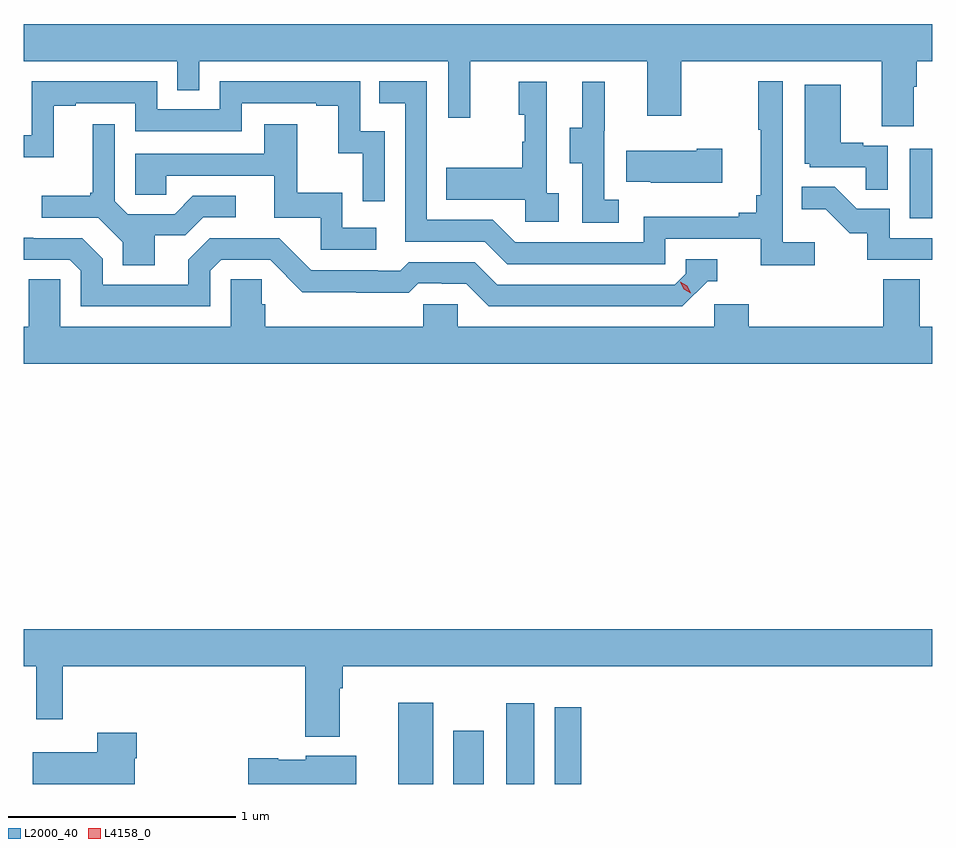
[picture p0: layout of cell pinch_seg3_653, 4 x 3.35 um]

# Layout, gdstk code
import gdstk
lib = gdstk.Library(unit=1e-6, precision=1e-09)
def R(c, l, rs):  # rectangles x0, y0, x1, y1
    for r in rs: c.add(gdstk.rectangle(r[:2], r[2:], *l))
def P(c, l, *ps):  # polygons
    for p in ps: c.add(gdstk.Polygon(p, *l))
L2000_40 = (2000, 40)
L4158_0 = (4158, 0)

pinch_seg3_653 = lib.new_cell('pinch_seg3_653')
R(pinch_seg3_653, L2000_40, [(1049.333,667.098,1049.488,667.456), (1049.576,667.098,1049.71,667.333), (1049.81,667.098,1049.932,667.453), (1050.024,667.098,1050.14,667.435), (1051.586,669.588,1051.685,669.895)])
P(pinch_seg3_653, L2000_40, [(1051.603,670.168),(1051.616,670.168),(1051.616,670.28),(1051.685,670.28),(1051.685,670.444),(1047.685,670.444),(1047.685,670.28),(1048.362,670.28),(1048.362,670.153),(1048.458,670.153),(1048.458,670.28),(1049.553,670.28),(1049.553,670.032),(1049.651,670.032),(1049.651,670.28),(1050.431,670.28),(1050.431,670.041),(1050.579,670.041),(1050.579,670.28),(1051.463,670.28),(1051.463,669.994),(1051.603,669.994)],
  [(1051.168,669.484),(1051.026,669.484),(1051.026,670.192),(1050.918,670.192),(1050.918,669.979),(1050.929,669.979),(1050.929,669.691),(1050.91,669.691),(1050.91,669.614),(1050.833,669.614),(1050.833,669.595),(1050.414,669.595),(1050.414,669.483),(1049.85,669.483),(1049.751,669.582),(1049.46,669.582),(1049.46,670.191),(1049.251,670.191),(1049.251,670.095),(1049.364,670.095),(1049.364,669.486),(1049.714,669.486),(1049.813,669.387),(1050.51,669.387),(1050.51,669.498),(1050.929,669.498),(1050.929,669.382),(1051.168,669.382)],
  [(1049.274,669.972),(1049.166,669.972),(1049.166,670.191),(1048.548,670.191),(1048.548,670.068),(1048.272,670.068),(1048.272,670.191),(1047.72,670.191),(1047.72,669.955),(1047.685,669.955),(1047.685,669.857),(1047.817,669.857),(1047.817,670.083),(1047.913,670.083),(1047.913,670.095),(1048.176,670.095),(1048.176,669.972),(1048.644,669.972),(1048.644,670.095),(1048.973,670.095),(1048.973,670.083),(1049.069,670.083),(1049.069,669.875),(1049.178,669.875),(1049.178,669.663),(1049.274,669.663)],
  [(1050.04,669.698),(1049.988,669.698),(1049.988,670.189),(1049.864,670.189),(1049.864,670.044),(1049.89,670.044),(1049.89,669.926),(1049.88,669.926),(1049.88,669.811),(1049.545,669.811),(1049.545,669.671),(1049.892,669.671),(1049.892,669.573),(1050.04,669.573)],
  [(1050.304,669.671),(1050.24,669.671),(1050.24,669.975),(1050.242,669.975),(1050.242,670.189),(1050.143,670.189),(1050.143,669.987),(1050.089,669.987),(1050.089,669.832),(1050.144,669.832),(1050.144,669.568),(1050.304,669.568)],
  [(1051.488,669.909),(1051.382,669.909),(1051.382,669.922),(1051.282,669.922),(1051.282,670.177),(1051.124,670.177),(1051.124,669.828),(1051.146,669.828),(1051.146,669.813),(1051.393,669.813),(1051.393,669.715),(1051.488,669.715)],
  [(1049.236,669.546),(1049.088,669.546),(1049.088,669.7),(1048.889,669.7),(1048.889,670.003),(1048.745,670.003),(1048.745,669.873),(1048.176,669.873),(1048.176,669.693),(1048.313,669.693),(1048.313,669.777),(1048.787,669.777),(1048.787,669.591),(1048.992,669.591),(1048.992,669.45),(1049.236,669.45)],
  [(1048.261,669.514),(1048.396,669.514),(1048.476,669.594),(1048.618,669.594),(1048.618,669.687),(1048.43,669.687),(1048.349,669.606),(1048.143,669.606),(1048.086,669.663),(1048.086,670.003),(1047.989,670.003),(1047.989,669.7),(1047.978,669.7),(1047.978,669.688),(1047.765,669.688),(1047.765,669.591),(1048.014,669.591),(1048.121,669.484),(1048.121,669.382),(1048.261,669.382)],
  [(1050.76,669.894),(1050.647,669.894),(1050.647,669.886),(1050.337,669.886),(1050.337,669.749),(1050.445,669.749),(1050.445,669.746),(1050.76,669.746)],
  [(1051.685,669.501),(1051.497,669.501),(1051.497,669.63),(1051.353,669.63),(1051.255,669.728),(1051.111,669.728),(1051.111,669.629),(1051.215,669.629),(1051.322,669.522),(1051.399,669.522),(1051.399,669.405),(1051.685,669.405)],
  [(1048.506,669.357),(1048.554,669.405),(1048.77,669.405),(1048.912,669.263),(1049.148,669.263),(1049.148,669.261),(1049.381,669.261),(1049.423,669.303),(1049.526,669.303),(1049.526,669.3),(1049.633,669.3),(1049.732,669.201),(1050.585,669.201),(1050.696,669.312),(1050.739,669.312),(1050.739,669.408),(1050.6,669.408),(1050.6,669.345),(1050.552,669.297),(1049.769,669.297),(1049.67,669.396),(1049.381,669.396),(1049.342,669.357),(1049.243,669.357),(1049.243,669.36),(1048.95,669.36),(1048.809,669.501),(1048.503,669.501),(1048.409,669.407),(1048.409,669.297),(1048.032,669.297),(1048.032,669.411),(1047.942,669.501),(1047.726,669.501),(1047.726,669.503),(1047.685,669.503),(1047.685,669.405),(1047.888,669.405),(1047.936,669.357),(1047.936,669.201),(1048.506,669.201)],
  [(1051.685,669.112),(1051.629,669.112),(1051.629,669.32),(1051.469,669.32),(1051.469,669.112),(1050.878,669.112),(1050.878,669.21),(1050.726,669.21),(1050.726,669.112),(1049.595,669.112),(1049.595,669.21),(1049.445,669.21),(1049.445,669.112),(1048.748,669.112),(1048.748,669.21),(1048.733,669.21),(1048.733,669.32),(1048.596,669.32),(1048.596,669.112),(1047.846,669.112),(1047.846,669.32),(1047.707,669.32),(1047.707,669.112),(1047.685,669.112),(1047.685,668.948),(1051.685,668.948)],
  [(1049.077,667.52),(1049.09,667.52),(1049.09,667.616),(1051.685,667.616),(1051.685,667.78),(1047.685,667.78),(1047.685,667.616),(1047.74,667.616),(1047.74,667.383),(1047.857,667.383),(1047.857,667.616),(1048.925,667.616),(1048.925,667.307),(1049.077,667.307)],
  [(1048.174,667.211),(1048.182,667.211),(1048.182,667.324),(1048.009,667.324),(1048.009,667.237),(1047.725,667.237),(1047.725,667.098),(1048.174,667.098)],
  [(1049.149,667.222),(1048.926,667.222),(1048.926,667.204),(1048.806,667.204),(1048.806,667.212),(1048.674,667.212),(1048.674,667.098),(1049.149,667.098)])
P(pinch_seg3_653, L4158_0, [(1050.621,669.258),(1050.591,669.277),(1050.575,669.31),(1050.575,669.31),(1050.575,669.31),(1050.606,669.291),(1050.622,669.258),(1050.622,669.258)])

lib.write_gds('pinch_seg3_653.gds')
